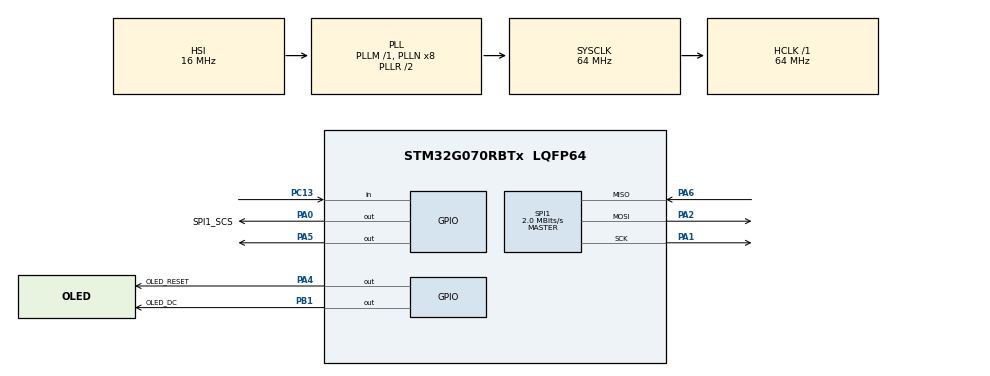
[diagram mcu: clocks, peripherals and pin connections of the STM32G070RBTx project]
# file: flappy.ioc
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Mcu.Family=STM32G0
Mcu.Name=STM32G070RBTx
Mcu.Package=LQFP64
PA0.GPIO_Label=SPI1_SCS
PA0.Signal=GPIO_Output
PA1.Mode=Full_Duplex_Master
PA1.Signal=SPI1_SCK
PA2.Mode=Full_Duplex_Master
PA2.Signal=SPI1_MOSI
PA4.GPIO_Label=OLED_RESET
PA4.Signal=GPIO_Output
PA5.Signal=GPIO_Output
PA6.Mode=Full_Duplex_Master
PA6.Signal=SPI1_MISO
PB1.GPIO_Label=OLED_DC
PB1.Signal=GPIO_Output
PC13.GPIO_PuPd=GPIO_PULLUP
PC13.Signal=GPIO_Input
PF0-OSC_IN\ (PF0).Mode=HSE-External-Clock-Source
PF0-OSC_IN\ (PF0).Signal=RCC_OSC_IN
ProjectManager.HeapSize=0x200
ProjectManager.StackSize=0x400
ProjectManager.TargetToolchain=Makefile
RCC.ADCFreq_Value=64000000
RCC.AHBFreq_Value=64000000
RCC.CortexFreq_Value=64000000
RCC.EXTERNAL_CLOCK_VALUE=48000
RCC.HCLKFreq_Value=64000000
RCC.HSE_VALUE=8000000
RCC.HSI_VALUE=16000000
RCC.LSE_VALUE=32768
RCC.SYSCLKFreq_VALUE=64000000
RCC.SYSCLKSource=RCC_SYSCLKSOURCE_PLLCLK
RCC.VCOOutputFreq_Value=128000000
SPI1.BaudRatePrescaler=SPI_BAUDRATEPRESCALER_32
SPI1.CalculateBaudRate=2.0 MBits/s
SPI1.DataSize=SPI_DATASIZE_8BIT
SPI1.Direction=SPI_DIRECTION_2LINES
SPI1.Mode=SPI_MODE_MASTER
SPI1.VirtualType=VM_MASTER
VP_SYS_VS_DBSignals.Mode=DisableDeadBatterySignals
board=custom

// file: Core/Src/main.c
/* USER CODE BEGIN Header */
/**
  ******************************************************************************
  * @file           : main.c
  * @brief          : Main program body
  ******************************************************************************
  * @attention
  *
  * Copyright (c) 2025 STMicroelectronics.
  * All rights reserved.
  *
  * This software is licensed under terms that can be found in the LICENSE file
  * in the root directory of this software component.
  * If no LICENSE file comes with this software, it is provided AS-IS.
  *
  ******************************************************************************
  */
/* USER CODE END Header */
#include "main.h"

/* USER CODE BEGIN Includes */
#include "heartbeat.h"
#include "button.h"
#include "oled.h"
#include "graphics_backend.h"
#include "game_engine.h"
/* USER CODE END Includes */

SPI_HandleTypeDef hspi1;

/* USER CODE BEGIN PV */
heartbeat_led_t heartbeat_led;
button_t user_btn;
oled_screen_t oled;
graphics_backend_t backend;
/* USER CODE END PV */

void SystemClock_Config(void);
static void MX_GPIO_Init(void);
static void MX_SPI1_Init(void);

int main(void)
{

  /* MCU Configuration--------------------------------------------------------*/

  /* Reset of all peripherals, Initializes the Flash interface and the Systick. */
  HAL_Init();

  /* Configure the system clock */
  SystemClock_Config();

  /* Initialize all configured peripherals */
  MX_GPIO_Init();
  MX_SPI1_Init();
  /* USER CODE BEGIN 2 */

  /**********************   Heartbeat onboard LED, 1 Hz ******************/
  heartbeat_led_initialize(&heartbeat_led, GPIOA, GPIO_PIN_5, 1000);
  /********************************************************************* */

  /**********************    User button (SPACE key), with debounce (polling) **************/
  button_initialize(&user_btn, GPIOC, GPIO_PIN_13);
  /*****************************************************************************************/

  /***********************  4-wire SPI SS1306 OLED driver  **********************************/
  oled_initialize(&oled, &hspi1);
  oled_clear_screen(&oled);
  /*****************************************************************************************/

  /*********************** Graphics backend, hooking up our OLED driver to µGUI library ****/
  graphics_backend_init(&backend, &oled);
  /*****************************************************************************************/

  /*********************** The Game engine state machine, takes user input and calls the game render module to draw the actual game ***/
  game_engine_init();
  /************************************************************************************************************************************/

  /* USER CODE END 2 */

  /* Infinite loop */
  while (1)
  {

    /* USER CODE BEGIN 3 */

    oled_clear_screen(&oled);

    /* Dispatch button press event to the game engine state machine */
    game_engine_step(is_button_pressed(&user_btn, HAL_GetTick()));

    /* Toggle Heartbeat LED (1 Hz) */
    heartbeat_led_toggle(&heartbeat_led, HAL_GetTick());

    /* Update graphics (50 Hz), using low-level OLED calls and µGUI */
    graphics_backend_update(&backend, HAL_GetTick());

  }
  /* USER CODE END 3 */
}

void SystemClock_Config(void)
{
  RCC_OscInitTypeDef RCC_OscInitStruct = {0};
  RCC_ClkInitTypeDef RCC_ClkInitStruct = {0};

  /** Configure the main internal regulator output voltage
  */
  HAL_PWREx_ControlVoltageScaling(PWR_REGULATOR_VOLTAGE_SCALE1);

  /** Initializes the RCC Oscillators according to the specified parameters
  * in the RCC_OscInitTypeDef structure.
  */
  RCC_OscInitStruct.OscillatorType = RCC_OSCILLATORTYPE_HSI;
  RCC_OscInitStruct.HSIState = RCC_HSI_ON;
  RCC_OscInitStruct.HSIDiv = RCC_HSI_DIV1;
  RCC_OscInitStruct.HSICalibrationValue = RCC_HSICALIBRATION_DEFAULT;
  RCC_OscInitStruct.PLL.PLLState = RCC_PLL_ON;
  RCC_OscInitStruct.PLL.PLLSource = RCC_PLLSOURCE_HSI;
  RCC_OscInitStruct.PLL.PLLM = RCC_PLLM_DIV1;
  RCC_OscInitStruct.PLL.PLLN = 8;
  RCC_OscInitStruct.PLL.PLLP = RCC_PLLP_DIV2;
  RCC_OscInitStruct.PLL.PLLR = RCC_PLLR_DIV2;
  if (HAL_RCC_OscConfig(&RCC_OscInitStruct) != HAL_OK)
  {
    Error_Handler();
  }

  /** Initializes the CPU, AHB and APB buses clocks
  */
  RCC_ClkInitStruct.ClockType = RCC_CLOCKTYPE_HCLK|RCC_CLOCKTYPE_SYSCLK
                              |RCC_CLOCKTYPE_PCLK1;
  RCC_ClkInitStruct.SYSCLKSource = RCC_SYSCLKSOURCE_PLLCLK;
  RCC_ClkInitStruct.AHBCLKDivider = RCC_SYSCLK_DIV1;
  RCC_ClkInitStruct.APB1CLKDivider = RCC_HCLK_DIV1;

  if (HAL_RCC_ClockConfig(&RCC_ClkInitStruct, FLASH_LATENCY_2) != HAL_OK)
  {
    Error_Handler();
  }
}

static void MX_SPI1_Init(void)
{

  /* SPI1 parameter configuration*/
  hspi1.Instance = SPI1;
  hspi1.Init.Mode = SPI_MODE_MASTER;
  hspi1.Init.Direction = SPI_DIRECTION_2LINES;
  hspi1.Init.DataSize = SPI_DATASIZE_8BIT;
  hspi1.Init.CLKPolarity = SPI_POLARITY_LOW;
  hspi1.Init.CLKPhase = SPI_PHASE_1EDGE;
  hspi1.Init.NSS = SPI_NSS_SOFT;
  hspi1.Init.BaudRatePrescaler = SPI_BAUDRATEPRESCALER_32;
  hspi1.Init.FirstBit = SPI_FIRSTBIT_MSB;
  hspi1.Init.TIMode = SPI_TIMODE_DISABLE;
  hspi1.Init.CRCCalculation = SPI_CRCCALCULATION_DISABLE;
  hspi1.Init.CRCPolynomial = 7;
  hspi1.Init.CRCLength = SPI_CRC_LENGTH_DATASIZE;
  hspi1.Init.NSSPMode = SPI_NSS_PULSE_ENABLE;
  if (HAL_SPI_Init(&hspi1) != HAL_OK)
  {
    Error_Handler();
  }

}

static void MX_GPIO_Init(void)
{
  GPIO_InitTypeDef GPIO_InitStruct = {0};

  /* GPIO Ports Clock Enable */
  __HAL_RCC_GPIOC_CLK_ENABLE();
  __HAL_RCC_GPIOF_CLK_ENABLE();
  __HAL_RCC_GPIOA_CLK_ENABLE();
  __HAL_RCC_GPIOB_CLK_ENABLE();

  /*Configure GPIO pin Output Level */
  HAL_GPIO_WritePin(GPIOA, SPI1_SCS_Pin|OLED_RESET_Pin|GPIO_PIN_5, GPIO_PIN_RESET);

  /*Configure GPIO pin Output Level */
  HAL_GPIO_WritePin(OLED_DC_GPIO_Port, OLED_DC_Pin, GPIO_PIN_RESET);

  /*Configure GPIO pin : PC13 */
  GPIO_InitStruct.Pin = GPIO_PIN_13;
  GPIO_InitStruct.Mode = GPIO_MODE_INPUT;
  GPIO_InitStruct.Pull = GPIO_PULLUP;
  HAL_GPIO_Init(GPIOC, &GPIO_InitStruct);

  /*Configure GPIO pins : SPI1_SCS_Pin OLED_RESET_Pin PA5 */
  GPIO_InitStruct.Pin = SPI1_SCS_Pin|OLED_RESET_Pin|GPIO_PIN_5;
  GPIO_InitStruct.Mode = GPIO_MODE_OUTPUT_PP;
  GPIO_InitStruct.Pull = GPIO_NOPULL;
  GPIO_InitStruct.Speed = GPIO_SPEED_FREQ_LOW;
  HAL_GPIO_Init(GPIOA, &GPIO_InitStruct);

  /*Configure GPIO pin : OLED_DC_Pin */
  GPIO_InitStruct.Pin = OLED_DC_Pin;
  GPIO_InitStruct.Mode = GPIO_MODE_OUTPUT_PP;
  GPIO_InitStruct.Pull = GPIO_NOPULL;
  GPIO_InitStruct.Speed = GPIO_SPEED_FREQ_LOW;
  HAL_GPIO_Init(OLED_DC_GPIO_Port, &GPIO_InitStruct);

}

void Error_Handler(void)
{
  __disable_irq();
  while (1)
  {
  }
}
